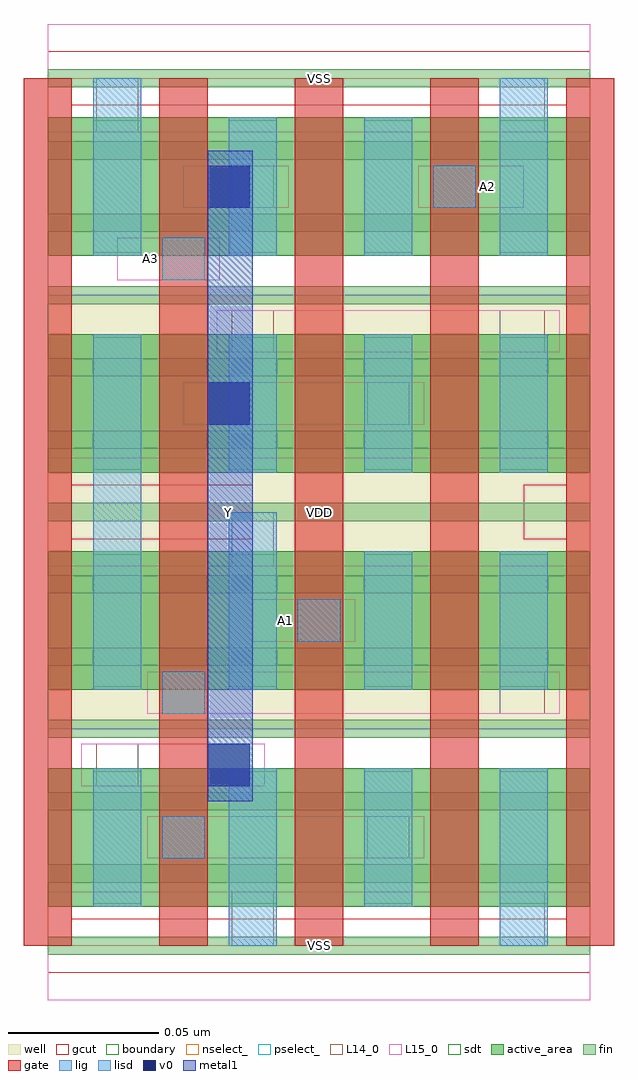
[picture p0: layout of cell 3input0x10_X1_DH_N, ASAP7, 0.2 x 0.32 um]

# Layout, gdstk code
import gdstk
lib = gdstk.Library(unit=1e-6, precision=1e-09)
def R(c, l, rs):  # rectangles x0, y0, x1, y1
    for r in rs: c.add(gdstk.rectangle(r[:2], r[2:], *l))
def A(c, l, x, y, w, h, nx, ny, dx, dy):  # array of equal rectangles
    R(c, l, [(x+i*dx, y+j*dy, x+i*dx+w, y+j*dy+h) for i in range(nx) for j in range(ny)])
def P(c, l, *ps):  # polygons
    for p in ps: c.add(gdstk.Polygon(p, *l))
well = (1, 0)
fin = (2, 0)
gate = (7, 0)
gcut = (10, 0)
active_area = (11, 0)
nselect_ = (12, 0)
pselect_ = (13, 0)
L14_0 = (14, 0)
L15_0 = (15, 0)
lig = (16, 0)
lisd = (17, 0)
v0 = (18, 0)
metal1 = (19, 0)
sdt = (88, 0)
boundary = (100, 0)

c_3input0x10_x1_dh_n = lib.new_cell('3input0x10_X1_DH_N')
R(c_3input0x10_x1_dh_n, well, [(0,0.072,0.18,0.144), (0,0.144,0.18,0.216)])
A(c_3input0x10_x1_dh_n, fin, 0, -0.003, 0.18, 0.006, 1, 13, 0, 0.024)
A(c_3input0x10_x1_dh_n, gate, -0.008, 0, 0.016, 0.288, 5, 1, 0.045, 0)
P(c_3input0x10_x1_dh_n, gcut, [(0,-0.009),(0,0),(-0.008,0),(-0.008,0.279),(0.008,0.279),(0.008,0.153),(0.068,0.153),(0.068,0.135),(0.008,0.135),(0.008,0.009),(0.172,0.009),(0.172,0.135),(0.158,0.135),(0.158,0.153),(0.172,0.153),(0.172,0.279),(-0.008,0.279),(-0.008,0.288),(0,0.288),(0,0.297),(0.18,0.297),(0.18,0.288),(0.188,0.288),(0.188,0),(0.18,0),(0.18,-0.009)])
A(c_3input0x10_x1_dh_n, active_area, 0, 0.013, 0.18, 0.046, 1, 4, 0, 0.072)
R(c_3input0x10_x1_dh_n, nselect_, [(0,0,0.18,0.072), (0,0.216,0.18,0.288)])
R(c_3input0x10_x1_dh_n, pselect_, [(0,0.072,0.18,0.144), (0,0.144,0.18,0.216)])
R(c_3input0x10_x1_dh_n, L14_0, [(0.061,0,0.075,0.018), (0.15,0,0.165,0.018), (0.038,0.029,0.052,0.043), (0.106,0.029,0.12,0.043), (0.016,0.053,0.03,0.067), (0.038,0.077,0.052,0.091), (0.15,0.077,0.165,0.091), (0.083,0.101,0.097,0.115), (0.061,0.126,0.075,0.144), (0.106,0.173,0.12,0.187), (0.061,0.197,0.075,0.211), (0.15,0.197,0.165,0.211), (0.038,0.221,0.052,0.235), (0.061,0.245,0.075,0.259), (0.128,0.245,0.142,0.259), (0.016,0.27,0.03,0.288), (0.15,0.27,0.165,0.288)])
A(c_3input0x10_x1_dh_n, L15_0, 0, -0.018, 0.18, 0.036, 1, 3, 0, 0.144)
R(c_3input0x10_x1_dh_n, L15_0, [(0.033,0.029,0.125,0.043), (0.011,0.053,0.072,0.067), (0.033,0.077,0.17,0.091), (0.068,0.101,0.102,0.115), (0.045,0.173,0.125,0.187), (0.056,0.197,0.17,0.211), (0.023,0.221,0.057,0.235), (0.045,0.245,0.08,0.259), (0.123,0.245,0.158,0.259)])
R(c_3input0x10_x1_dh_n, lig, [(0.038,0.029,0.052,0.043), (0.038,0.077,0.052,0.091), (0.083,0.101,0.097,0.115), (0.038,0.221,0.052,0.235), (0.128,0.245,0.142,0.259)])
A(c_3input0x10_x1_dh_n, lisd, 0.06, 0.157, 0.016, 0.046, 3, 1, 0.045, 0)
R(c_3input0x10_x1_dh_n, lisd, [(0.06,0,0.076,0.059), (0.15,0,0.166,0.059), (0.015,0.013,0.031,0.059), (0.105,0.013,0.121,0.059), (0.015,0.085,0.031,0.203), (0.06,0.085,0.076,0.144), (0.105,0.085,0.121,0.131), (0.15,0.085,0.166,0.131), (0.015,0.229,0.031,0.288), (0.06,0.229,0.076,0.275), (0.105,0.229,0.121,0.275), (0.15,0.229,0.166,0.288)])
R(c_3input0x10_x1_dh_n, v0, [(0.053,0.053,0.067,0.067), (0.053,0.173,0.067,0.187), (0.053,0.245,0.067,0.259)])
R(c_3input0x10_x1_dh_n, metal1, [(0.053,0.048,0.068,0.264)])
A(c_3input0x10_x1_dh_n, sdt, 0.015, 0.014, 0.016, 0.044, 4, 4, 0.045, 0.072)
R(c_3input0x10_x1_dh_n, boundary, [(0,0,0.18,0.288)])
c_3input0x10_x1_dh_n.add(gdstk.Label('A1', (0.079,0.108), layer=15, texttype=251))
c_3input0x10_x1_dh_n.add(gdstk.Label('VSS', (0.09,0), layer=15, texttype=251))
c_3input0x10_x1_dh_n.add(gdstk.Label('VDD', (0.09,0.144), layer=15, texttype=251))
c_3input0x10_x1_dh_n.add(gdstk.Label('VDD', (0.09,0.144), layer=15, texttype=251))
c_3input0x10_x1_dh_n.add(gdstk.Label('VSS', (0.09,0.288), layer=15, texttype=251))
c_3input0x10_x1_dh_n.add(gdstk.Label('A3', (0.034,0.228), layer=15, texttype=251))
c_3input0x10_x1_dh_n.add(gdstk.Label('VSS', (0.09,0), layer=15, texttype=251))
c_3input0x10_x1_dh_n.add(gdstk.Label('VDD', (0.09,0.144), layer=15, texttype=251))
c_3input0x10_x1_dh_n.add(gdstk.Label('VDD', (0.09,0.144), layer=15, texttype=251))
c_3input0x10_x1_dh_n.add(gdstk.Label('VSS', (0.09,0.288), layer=15, texttype=251))
c_3input0x10_x1_dh_n.add(gdstk.Label('A2', (0.146,0.252), layer=15, texttype=251))
c_3input0x10_x1_dh_n.add(gdstk.Label('VSS', (0.09,0), layer=15, texttype=251))
c_3input0x10_x1_dh_n.add(gdstk.Label('VDD', (0.09,0.144), layer=15, texttype=251))
c_3input0x10_x1_dh_n.add(gdstk.Label('VDD', (0.09,0.144), layer=15, texttype=251))
c_3input0x10_x1_dh_n.add(gdstk.Label('VSS', (0.09,0.288), layer=15, texttype=251))
c_3input0x10_x1_dh_n.add(gdstk.Label('VSS', (0.09,0), layer=15, texttype=251))
c_3input0x10_x1_dh_n.add(gdstk.Label('VDD', (0.09,0.144), layer=15, texttype=251))
c_3input0x10_x1_dh_n.add(gdstk.Label('VDD', (0.09,0.144), layer=15, texttype=251))
c_3input0x10_x1_dh_n.add(gdstk.Label('VSS', (0.09,0.288), layer=15, texttype=251))
c_3input0x10_x1_dh_n.add(gdstk.Label('VSS', (0.09,0), layer=3, texttype=251))
c_3input0x10_x1_dh_n.add(gdstk.Label('VSS', (0.09,0.288), layer=3, texttype=251))
c_3input0x10_x1_dh_n.add(gdstk.Label('VSS', (0.09,0), layer=3, texttype=251))
c_3input0x10_x1_dh_n.add(gdstk.Label('VSS', (0.09,0.288), layer=3, texttype=251))
c_3input0x10_x1_dh_n.add(gdstk.Label('VSS', (0.09,0), layer=3, texttype=251))
c_3input0x10_x1_dh_n.add(gdstk.Label('VSS', (0.09,0.288), layer=3, texttype=251))
c_3input0x10_x1_dh_n.add(gdstk.Label('VSS', (0.09,0), layer=3, texttype=251))
c_3input0x10_x1_dh_n.add(gdstk.Label('VSS', (0.09,0.288), layer=3, texttype=251))
c_3input0x10_x1_dh_n.add(gdstk.Label('VDD', (0.09,0.144), layer=1, texttype=251))
c_3input0x10_x1_dh_n.add(gdstk.Label('VDD', (0.09,0.144), layer=1, texttype=251))
c_3input0x10_x1_dh_n.add(gdstk.Label('VDD', (0.09,0.144), layer=1, texttype=251))
c_3input0x10_x1_dh_n.add(gdstk.Label('VDD', (0.09,0.144), layer=1, texttype=251))
c_3input0x10_x1_dh_n.add(gdstk.Label('VDD', (0.09,0.144), layer=1, texttype=251))
c_3input0x10_x1_dh_n.add(gdstk.Label('VDD', (0.09,0.144), layer=1, texttype=251))
c_3input0x10_x1_dh_n.add(gdstk.Label('VDD', (0.09,0.144), layer=1, texttype=251))
c_3input0x10_x1_dh_n.add(gdstk.Label('VDD', (0.09,0.144), layer=1, texttype=251))
c_3input0x10_x1_dh_n.add(gdstk.Label('Y', (0.06,0.144), layer=19, texttype=251))

lib.write_gds('3input0x10_X1_DH_N.gds')
